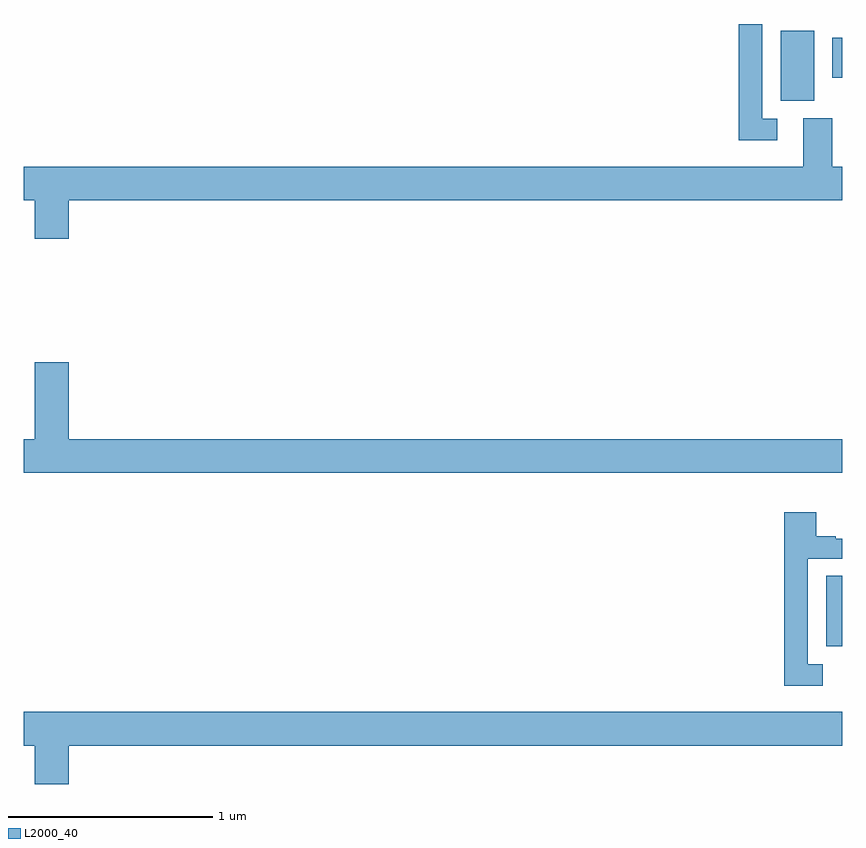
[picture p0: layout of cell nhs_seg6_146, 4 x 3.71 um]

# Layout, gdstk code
import gdstk
lib = gdstk.Library(unit=1e-6, precision=1e-09)
def R(c, l, rs):  # rectangles x0, y0, x1, y1
    for r in rs: c.add(gdstk.rectangle(r[:2], r[2:], *l))
def P(c, l, *ps):  # polygons
    for p in ps: c.add(gdstk.Polygon(p, *l))
L2000_40 = (2000, 40)

nhs_seg6_146 = lib.new_cell('nhs_seg6_146')
R(nhs_seg6_146, L2000_40, [(120.92,974.461,121,974.804), (120.698,977.125,120.862,977.468), (120.95,977.237,121,977.434)])
P(nhs_seg6_146, L2000_40, [(120.682,977.037),(120.609,977.037),(120.609,977.5),(120.493,977.5),(120.493,976.932),(120.682,976.932)],
  [(117.22,976.64),(121,976.64),(121,976.804),(120.949,976.804),(120.949,977.04),(120.809,977.04),(120.809,976.804),(117,976.804),(117,976.64),(117.056,976.64),(117.056,976.452),(117.22,976.452)],
  [(121,975.472),(117.22,975.472),(117.22,975.847),(117.056,975.847),(117.056,975.472),(117,975.472),(117,975.308),(121,975.308)],
  [(120.904,974.373),(120.831,974.373),(120.831,974.889),(121,974.889),(121,974.985),(120.967,974.985),(120.967,974.998),(120.871,974.998),(120.871,975.115),(120.715,975.115),(120.715,974.268),(120.904,974.268)],
  [(117.22,973.976),(121,973.976),(121,974.14),(117,974.14),(117,973.976),(117.056,973.976),(117.056,973.788),(117.22,973.788)])

lib.write_gds('nhs_seg6_146.gds')
